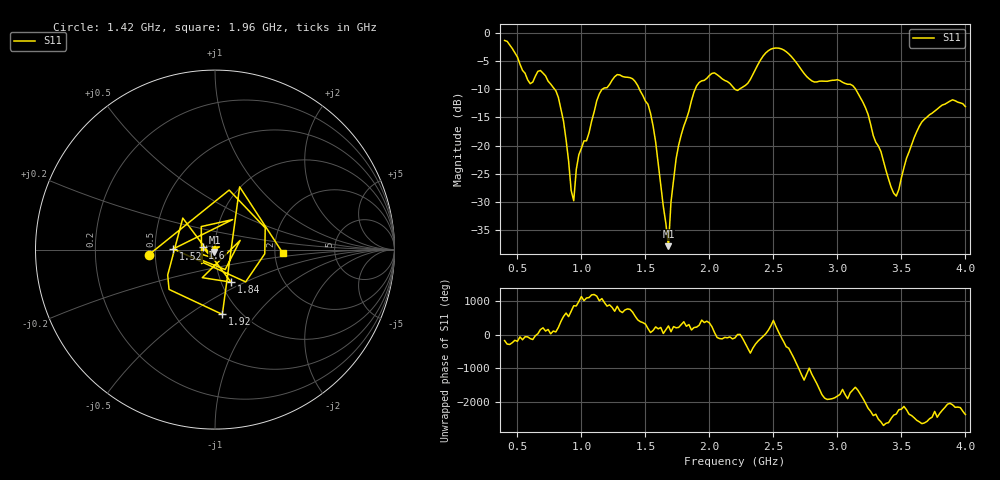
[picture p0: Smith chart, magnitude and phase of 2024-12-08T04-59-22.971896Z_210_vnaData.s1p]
!Created with skrf (http://scikit-rf.org).
# Hz S RI R 50.0
!freq ReS11 ImS11
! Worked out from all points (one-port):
!   181 points, 400 MHz to 4 GHz, reference 50 ohm
!   lowest |S11| = -37.8 dB at 1.68 GHz (marker M1), VSWR 1.03, Z = 49.7 - j1.24 ohm
!   |S11| at or under -10 dB: 791.1 MHz to 1.163 GHz (371.8 MHz wide, 38.1 % of centre); 1.453 GHz to 1.889 GHz (435.4 MHz wide, 26.1 % of centre); 3.143 GHz to end of sweep (the widest 3 of 4)
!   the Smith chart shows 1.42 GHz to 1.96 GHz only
!   S11 on the Smith chart (normalised r, x): 1.42 GHz: 0.46, -0.03; 1.52 GHz: 0.62, +0.00; 1.6 GHz: 0.87, +0.02; 1.84 GHz: 1.11, -0.42; 1.92 GHz: 0.83, -0.69; 1.96 GHz: 2.21, -0.11
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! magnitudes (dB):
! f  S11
! 400 MHz  -1.4
! 600 MHz  -9.0
! 720 MHz  -7.6
! 800 MHz  -10.2
! 860 MHz  -15.6
! 940 MHz  -29.8
! 980 MHz  -21.6
! 1.12 GHz  -12.0
! 1.3 GHz  -7.5
! 1.42 GHz  -8.6
! 1.52 GHz  -12.7
! 1.6 GHz  -23.2
! 1.68 GHz  -37.8
! 1.7 GHz  -29.9
! 1.76 GHz  -19.9
! 1.84 GHz  -13.9
! 1.92 GHz  -8.8
! 1.96 GHz  -8.4
! 2.2 GHz  -10.0
! 2.48 GHz  -2.9
! 2.66 GHz  -4.7
! 2.8 GHz  -8.5
! 3.1 GHz  -9.1
! 3.22 GHz  -13.3
! 3.44 GHz  -28.4
! 3.56 GHz  -21.1
! 3.72 GHz  -14.5
! 4 GHz  -13.1
